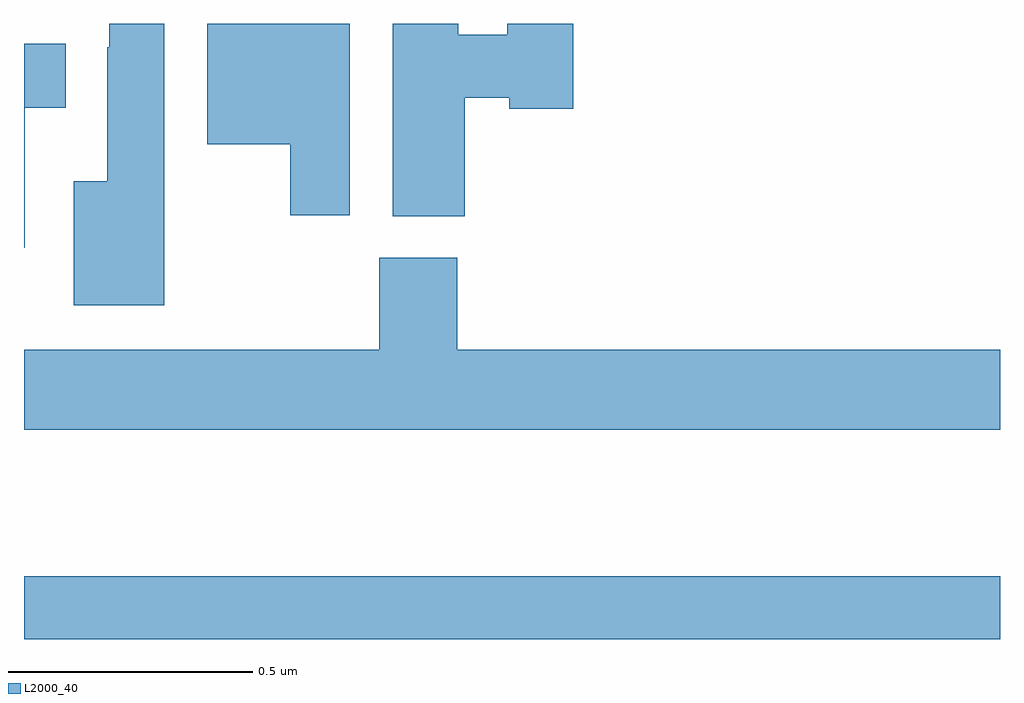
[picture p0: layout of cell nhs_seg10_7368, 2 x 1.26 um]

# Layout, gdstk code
import gdstk
lib = gdstk.Library(unit=1e-6, precision=1e-09)
def R(c, l, rs):  # rectangles x0, y0, x1, y1
    for r in rs: c.add(gdstk.rectangle(r[:2], r[2:], *l))
def P(c, l, *ps):  # polygons
    for p in ps: c.add(gdstk.Polygon(p, *l))
L2000_40 = (2000, 40)

nhs_seg10_7368 = lib.new_cell('nhs_seg10_7368')
R(nhs_seg10_7368, L2000_40, [(203,1281.238,205,1281.367)])
P(nhs_seg10_7368, L2000_40, [(203.287,1282.5),(203.175,1282.5),(203.175,1282.451),(203.171,1282.451),(203.171,1282.177),(203.102,1282.177),(203.102,1281.923),(203.287,1281.923)],
  [(203.903,1282.348),(203.994,1282.348),(203.994,1282.325),(204.125,1282.325),(204.125,1282.5),(203.99,1282.5),(203.99,1282.477),(203.89,1282.477),(203.89,1282.5),(203.756,1282.5),(203.756,1282.105),(203.903,1282.105)],
  [(203.668,1282.5),(203.375,1282.5),(203.375,1282.253),(203.546,1282.253),(203.546,1282.107),(203.668,1282.107)],
  [(203.002,1282.328),(203.086,1282.328),(203.086,1282.459),(203,1282.459),(203,1282.041),(203.002,1282.041)],
  [(205,1281.832),(203.888,1281.832),(203.888,1282.02),(203.728,1282.02),(203.728,1281.832),(203,1281.832),(203,1281.668),(205,1281.668)])

lib.write_gds('nhs_seg10_7368.gds')
